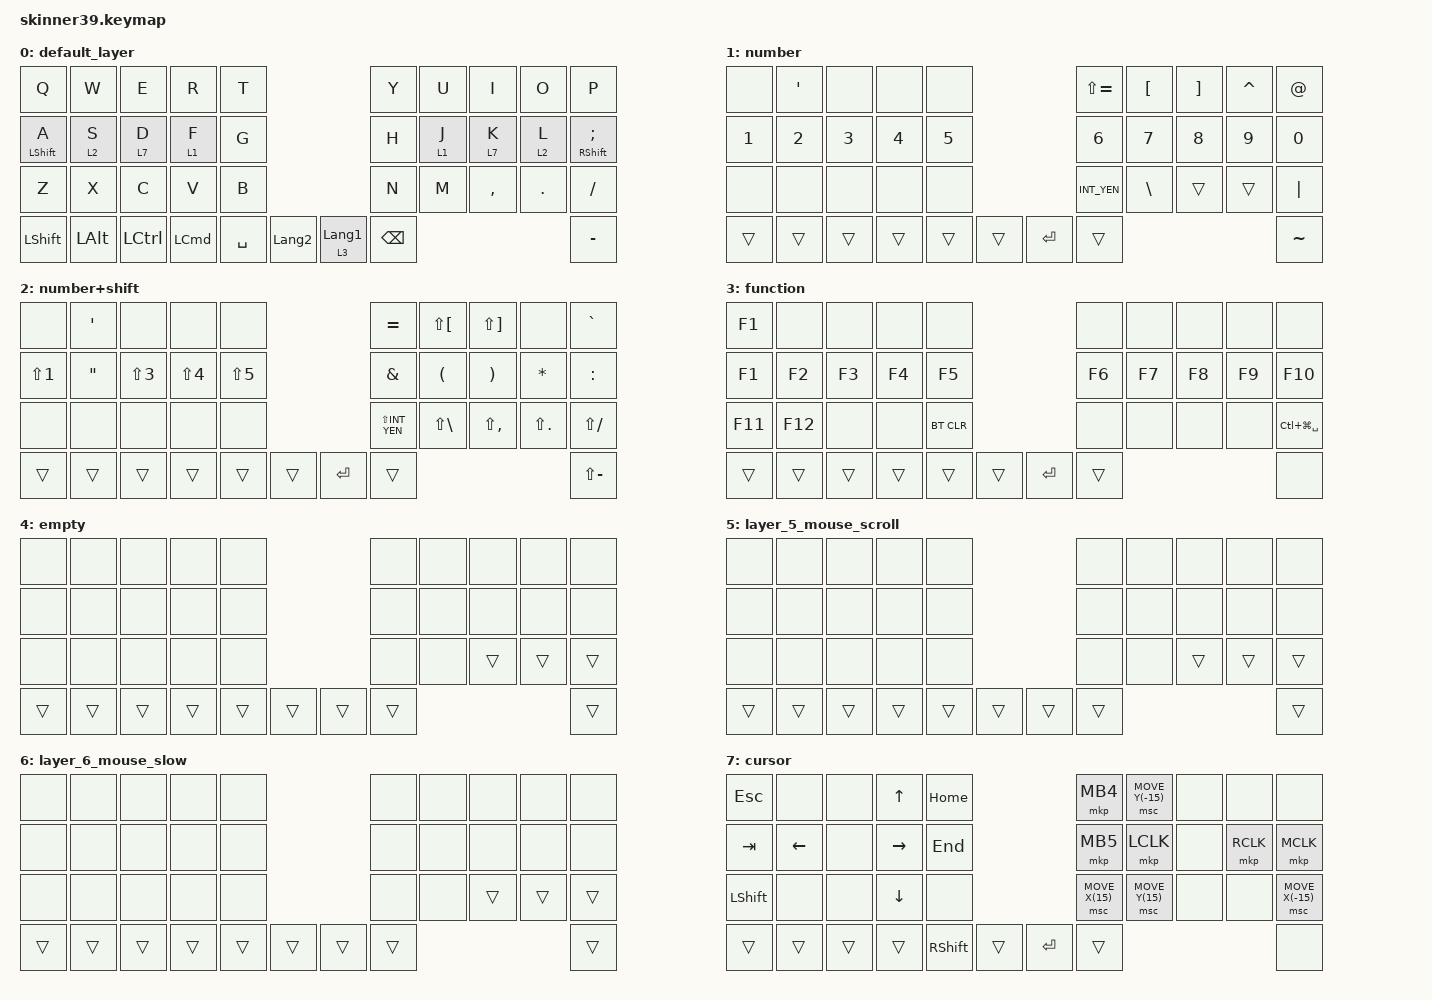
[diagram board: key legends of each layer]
#include <behaviors.dtsi>
#include <dt-bindings/zmk/bt.h>
#include <dt-bindings/zmk/keys.h>
#include <dt-bindings/zmk/pointing.h>

/ {
    combos { compatible = "zmk,combos"; };

    keymap {
        compatible = "zmk,keymap";

        default_layer {
            bindings = <
  &kp Q             &kp W         &kp E      &kp R             &kp T                                        &kp Y          &kp U    &kp I      &kp O       &kp P
  &mt LEFT_SHIFT A  &lt 2 S       &lt 7 D    &lt 1 F           &kp G                                        &kp H          &lt 1 J  &lt 7 K    &lt 2 L     &mt RIGHT_SHIFT SEMI
  &kp Z             &kp X         &kp C      &kp V             &kp B                                        &kp N          &kp M    &kp COMMA  &kp PERIOD  &kp SLASH
  &kp LEFT_SHIFT    &kp LEFT_ALT  &kp LCTRL  &kp LEFT_COMMAND  &kp SPACE  &kp LANGUAGE_2  &lt 3 LANGUAGE_1  &kp BACKSPACE                                  &kp MINUS
            >;
        };

        number {
            bindings = <
  &none         &kp SINGLE_QUOTE  &none         &none         &none                      &kp LS(EQUAL)  &kp LEFT_BRACKET  &kp RIGHT_BRACKET  &kp CARET  &kp AT_SIGN
  &kp NUMBER_1  &kp NUMBER_2      &kp NUMBER_3  &kp NUMBER_4  &kp N5                     &kp NUMBER_6   &kp N7            &kp NUMBER_8       &kp N9     &kp N0
  &none         &none             &none         &none         &none                      &kp INT_YEN    &kp BACKSLASH     &trans             &trans     &kp PIPE
  &trans        &trans            &trans        &trans        &trans  &trans  &kp ENTER  &trans                                                         &kp TILDE
            >;
        };

        number+shift {
            bindings = <
  &none             &kp SINGLE_QUOTE   &none             &none             &none                          &kp EQUAL        &kp LS(LEFT_BRACKET)  &kp LS(RIGHT_BRACKET)  &none           &kp GRAVE
  &kp LS(NUMBER_1)  &kp DOUBLE_QUOTES  &kp LS(NUMBER_3)  &kp LS(NUMBER_4)  &kp LS(N5)                     &kp AMPERSAND    &kp LEFT_PARENTHESIS  &kp RIGHT_PARENTHESIS  &kp ASTERISK    &kp COLON
  &none             &none              &none             &none             &none                          &kp LS(INT_YEN)  &kp LS(BACKSLASH)     &kp LS(COMMA)          &kp LS(PERIOD)  &kp LS(SLASH)
  &trans            &trans             &trans            &trans            &trans      &trans  &kp ENTER  &trans                                                                        &kp LS(MINUS)
            >;
        };

        function {
            bindings = <
  &kp F1   &none    &none   &none   &none                          &none   &none   &none   &none   &none
  &kp F1   &kp F2   &kp F3  &kp F4  &kp F5                         &kp F6  &kp F7  &kp F8  &kp F9  &kp F10
  &kp F11  &kp F12  &none   &none   &bt BT_CLR                     &none   &none   &none   &none   &kp LC(LG(SPACE))
  &trans   &trans   &trans  &trans  &trans      &trans  &kp ENTER  &trans                          &none
            >;
        };

        empty {
            bindings = <
  &none   &none   &none   &none   &none                   &none   &none  &none   &none   &none
  &none   &none   &none   &none   &none                   &none   &none  &none   &none   &none
  &none   &none   &none   &none   &none                   &none   &none  &trans  &trans  &trans
  &trans  &trans  &trans  &trans  &trans  &trans  &trans  &trans                         &trans
            >;
        };

        layer_5_mouse_scroll {
            bindings = <
  &none   &none   &none   &none   &none                   &none   &none  &none   &none   &none
  &none   &none   &none   &none   &none                   &none   &none  &none   &none   &none
  &none   &none   &none   &none   &none                   &none   &none  &trans  &trans  &trans
  &trans  &trans  &trans  &trans  &trans  &trans  &trans  &trans                         &trans
            >;
        };

        layer_6_mouse_slow {
            bindings = <
  &none   &none   &none   &none   &none                   &none   &none  &none   &none   &none
  &none   &none   &none   &none   &none                   &none   &none  &none   &none   &none
  &none   &none   &none   &none   &none                   &none   &none  &trans  &trans  &trans
  &trans  &trans  &trans  &trans  &trans  &trans  &trans  &trans                         &trans
            >;
        };

        cursor {
            bindings = <
  &kp ESCAPE      &none     &none   &kp UP_ARROW    &kp HOME                            &mkp MB4         &msc MOVE_Y(-15)  &none  &none      &none
  &kp TAB         &kp LEFT  &none   &kp RIGHT       &kp END                             &mkp MB5         &mkp LCLK         &none  &mkp RCLK  &mkp MCLK
  &kp LEFT_SHIFT  &none     &none   &kp DOWN_ARROW  &none                               &msc MOVE_X(15)  &msc MOVE_Y(15)   &none  &none      &msc MOVE_X(-15)
  &trans          &trans    &trans  &trans          &kp RIGHT_SHIFT  &trans  &kp ENTER  &trans                                               &none
            >;
        };
    };
};
